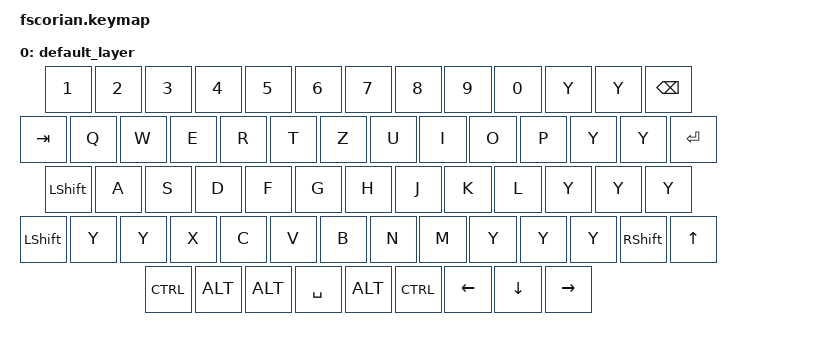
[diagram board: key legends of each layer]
#include <behaviors.dtsi>
#include <dt-bindings/zmk/keys.h>

/ {
    keymap {
        compatible = "zmk,keymap";

        default_layer {
// ---------------------------------------------------------------------------------------------------------------------------------
// |  ESC  |  Q  |  W  |  E   |  R   |  T   |                                          |  Y   |  U    |  I    |  O   |   P   |   \  |
// |  TAB  |  A  |  S  |  D   |  F   |  G   |                                          |  H   |  J    |  K    |  L   |   ;   |   '  |
// | SHIFT |  Z  |  X  |  C   |  V   |  B   | L SHIFT | L SHIFT |  | L SHIFT | L SHIFT |  N   |  M    |  ,    |  .   |   /   | CTRL |
//                     | GUI  | DEL  | RET  |  SPACE  |   ESC   |  |   RET   |  SPACE  | TAB  | BSPC  | R-ALT |
            bindings = <&kp 1  &kp 2 &kp 3 &kp 4 &kp 5 &kp 6 &kp 7 &kp 8 &kp 9 &kp 0 &kp Y &kp Y &kp BSPC
			 &kp TAB  &kp Q  &kp W &kp E &kp R &kp T &kp Z &kp U &kp I &kp O &kp P &kp Y &kp Y &kp RET
			  &kp LSHIFT &kp A &kp S &kp D &kp F &kp G &kp H &kp J &kp K &kp L &kp Y &kp Y &kp Y
			   &kp LSHIFT &kp Y &kp Y &kp X &kp C &kp V &kp B &kp N &kp M &kp Y &kp Y &kp Y &kp RSHIFT &kp UP
			    &kp CTRL &kp ALT &kp ALT &kp SPACE &kp ALT &kp CTRL &kp LEFT &kp DOWN &kp RIGHT
            >;

        };
    };
};
